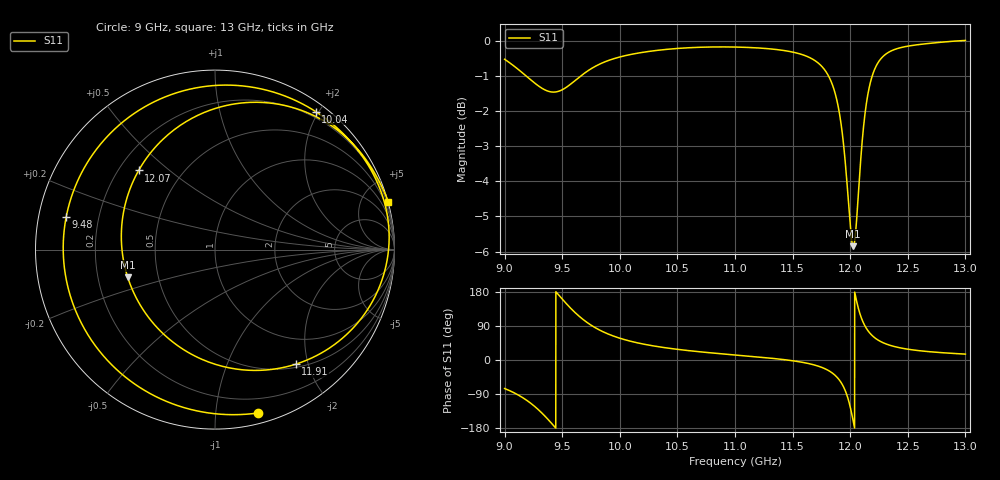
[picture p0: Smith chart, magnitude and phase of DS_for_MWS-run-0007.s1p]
! TOUCHSTONE file generated by CST DESIGN STUDIO
! Date and time: Wed Feb  5 13:40:35 2025
! Project name: C:\Work\MatlabApps\UnitCellOptimizationMatlab\CST\unitcell.cst
! Tree item: Tasks\Sweep1\SPara1\S-Parameters
! Header version: 2024
! Port assignment regex: !\s*Touchstone port\s*([0-9]+)\s*=\s*(CST MWS port|CST DES external port|CST DES block port)\s*(.+)\s* \(\"(.*)\"\)(\s*mode\s*([0-9]+))?.*
! Touchstone port assignment:
! Touchstone port 1 = CST DES external port 1 ("")
# GHz S MA R 50
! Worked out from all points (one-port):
!   4001 points, 9 GHz to 13 GHz, reference 50 ohm
!   lowest |S11| = -5.8 dB at 12.03 GHz (marker M1), VSWR 3.08, Z = 16.6 - j6.88 ohm
!   |S11| at or under -10 dB: nowhere
!   S11 on the Smith chart (normalised r, x): 9 GHz: 0.08, -1.29; 9.48 GHz: 0.08, +0.11; 10.04 GHz: 0.12, +1.96; 11.91 GHz: 0.55, -1.79; 12.07 GHz: 0.28, +0.40; 13 GHz: -0.03, +7.34
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9  0.9412 -75.3
9.147  0.9025 -97.5
9.258  0.8715 -121.8
9.384  0.8471 -159.1
9.48  0.8488 167.8
9.5  0.8517 160.8
9.6  0.8747 128.6
9.699  0.9006 102.8
9.844  0.9294 76.1
10  0.9483 57.5
10.039  0.9517 53.9
10.5  0.9751 28.2
11  0.9796 13.2
11.5  0.9636 -2.0
11.777  0.9098 -22.5
11.853  0.8589 -36.3
11.911  0.7806 -54.9
11.961  0.6608 -83.9
12  0.5466 -123.6
12.027  0.5102 -162.5
12.049  0.5383 164.4
12.073  0.6126 134.0
12.102  0.7127 107.1
12.134  0.8002 86.7
12.234  0.9262 54.1
12.339  0.9642 39.4
12.5  0.9825 28.5
13  1.001 15.5
